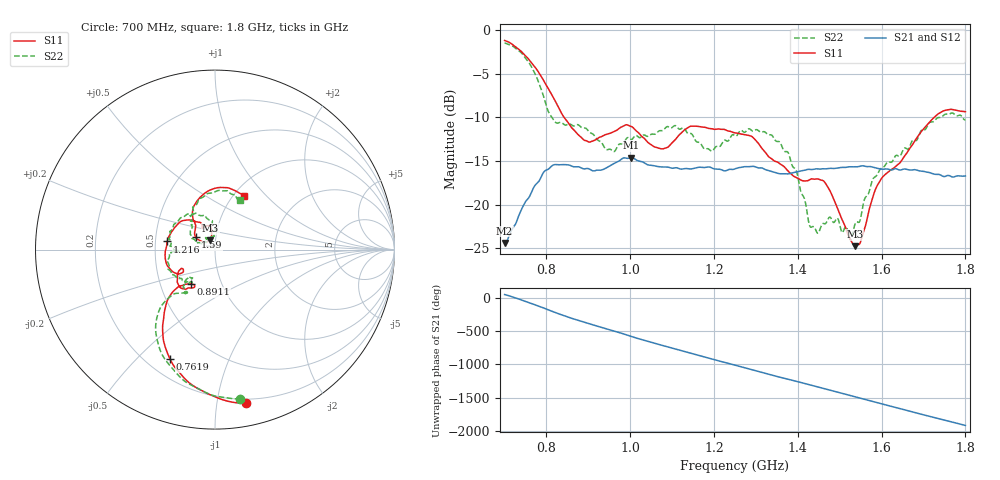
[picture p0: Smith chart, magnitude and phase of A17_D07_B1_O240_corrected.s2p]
! Created with skrf 1.9.0 (http://scikit-rf.org).
# Hz S RI R 50.0
!freq ReS11 ImS11 ReS21 ImS21 ReS12 ImS12 ReS22 ImS22
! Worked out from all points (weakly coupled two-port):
!   1601 points, 700 MHz to 1.8 GHz, reference 50 ohm
!   highest |S21| = -14.61 dB at 1.002 GHz (marker M1); lowest = -24.4 dB at 700 MHz (marker M2)
!   lowest |S11| = -24.8 dB at 1.536 GHz (marker M3), VSWR 1.12, Z = 47.2 + j4.87 ohm
!   |S11| at or under -10 dB: 842 MHz to 1.726 GHz (883.5 MHz wide, 68.8 % of centre)
!   |S22| runs from -24.1 to -1.5 dB; largest |S21 - S12| = 0.0035
!   S11 on the Smith chart (normalised r, x): 700 MHz: 0.17, -1.21; 761.9 MHz: 0.29, -0.63; 891.1 MHz: 0.72, -0.29; 1.216 GHz: 0.58, +0.06; 1.59 GHz: 0.80, +0.11; 1.8 GHz: 1.12, +0.76
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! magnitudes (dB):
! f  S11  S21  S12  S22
! 700 MHz  -1.2  -24.4  -24.2  -1.5
! 761.9 MHz  -3.6  -18.8  -18.8  -4.0
! 818.2 MHz  -7.9  -15.4  -15.5  -10.4
! 883.6 MHz  -12.3  -15.8  -15.7  -11.2
! 891.1 MHz  -12.6  -15.9  -15.9  -11.2
! 958.5 MHz  -11.7  -15.4  -15.4  -13.9
! 1.002 GHz  -11.0  -14.6  -14.7  -12.6
! 1.067 GHz  -13.5  -15.7  -15.6  -11.6
! 1.143 GHz  -11.0  -15.9  -15.9  -11.8
! 1.216 GHz  -11.4  -16.0  -16.0  -13.2
! 1.25 GHz  -11.8  -15.9  -15.8  -12.1
! 1.357 GHz  -15.3  -16.5  -16.4  -12.9
! 1.396 GHz  -16.9  -16.3  -16.3  -16.0
! 1.434 GHz  -17.0  -16.0  -15.9  -22.6
! 1.469 GHz  -17.8  -15.9  -15.9  -22.0
! 1.526 GHz  -24.0  -15.7  -15.7  -24.1
! 1.536 GHz  -24.8  -15.7  -15.7  -22.3
! 1.551 GHz  -24.1  -15.6  -15.6  -21.3
! 1.59 GHz  -17.8  -15.8  -15.8  -16.6
! 1.617 GHz  -16.2  -16.0  -15.9  -15.1
! 1.733 GHz  -9.7  -16.5  -16.6  -10.1
! 1.8 GHz  -9.4  -16.7  -16.7  -10.3
